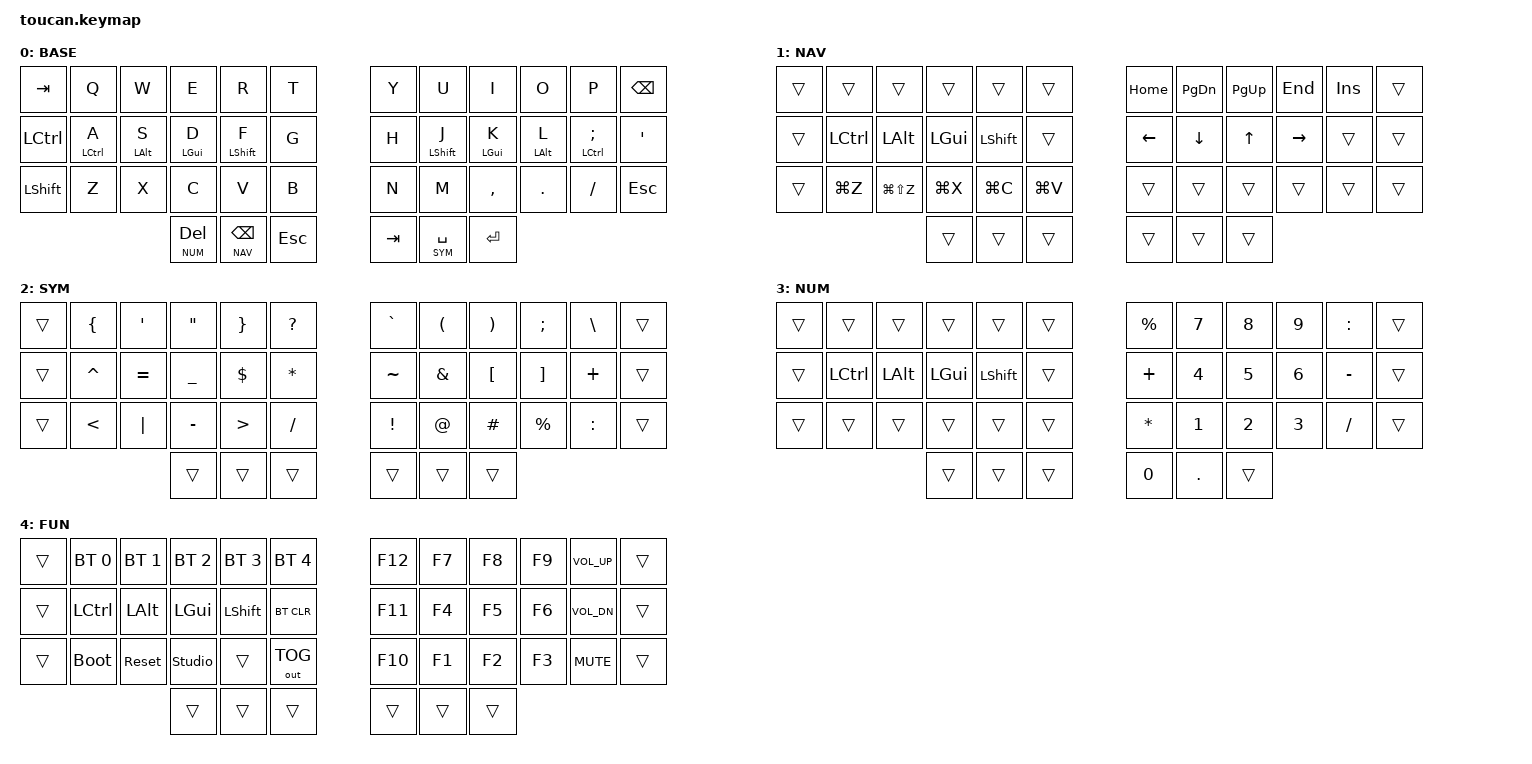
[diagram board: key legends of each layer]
/*
 * Toucan 36 keymap — ported from a Glove80 "Glorious Engrammer" setup.
 *
 * Carries over the three things that mattered:
 *   1. QWERTY base
 *   2. Home-row mods, macOS order  ->  Ctrl Alt Cmd Shift  (A S D F / ; L K J)
 *   3. A faithful Symbol layer (left-hand symbols, like the Glove80)
 *
 * Plus a Number layer and a Nav/Cursor layer, since a 36-key board has no
 * dedicated number row or arrow cluster.
 *
 * Built on the stock beekeeb Toucan 42-position matrix. The Toucan 36 simply
 * has no switch in the OUTER pinky column, so positions 0/11/12/23/24/35 are
 * unreachable on your board — everything important lives in the inner 5
 * columns + the 6 thumbs. The outer column keeps sensible defaults so the
 * file still flashes on stock firmware (and works on a 42 build too).
 *
 *  Physical layout / position numbers:
 *     0  1  2  3  4  5        6  7  8  9 10 11
 *    12 13 14 15 16 17       18 19 20 21 22 23
 *    24 25 26 27 28 29       30 31 32 33 34 35
 *             36 37 38       39 40 41
 *    (col 0 and col 11/index-side outer = absent on the 36)
 */

#include <behaviors.dtsi>
#include <dt-bindings/zmk/keys.h>
#include <dt-bindings/zmk/bt.h>
#include <dt-bindings/zmk/outputs.h>

#define BASE 0
#define NAV  1
#define SYM  2
#define NUM  3
#define FUN  4

/ {
    /* NAV + SYM held together -> FUN */
    conditional_layers {
        compatible = "zmk,conditional-layers";
        tri_fun {
            if-layers = <NAV SYM>;
            then-layer = <FUN>;
        };
    };

    combos {
        compatible = "zmk,combos";
        /* B + N (the two inner index keys) -> CAPS WORD.
         * Capitalises a whole word for SCREAMING_SNAKE_CASE; continues through
         * "_" and ends automatically at the next space. "bn" is a non-bigram,
         * so it won't trip while typing normally. */
        combo_caps_word {
            timeout-ms = <50>;
            key-positions = <29 30>;
            bindings = <&caps_word>;
            layers = <BASE>;
        };
    };

    behaviors {
        /* Home-row mods. Positional: a mod only triggers if the very next
         * key is on the OPPOSITE hand or a thumb — so same-hand rolls stay
         * fast and never fire a stray modifier. */
        hml: home_row_mod_left {
            compatible = "zmk,behavior-hold-tap";
            #binding-cells = <2>;
            flavor = "balanced";
            tapping-term-ms = <200>;
            quick-tap-ms = <175>;
            require-prior-idle-ms = <125>;
            bindings = <&kp>, <&kp>;
            hold-trigger-key-positions = <6 7 8 9 10 11 18 19 20 21 22 23 30 31 32 33 34 35 36 37 38 39 40 41>;
            hold-trigger-on-release;
        };
        hmr: home_row_mod_right {
            compatible = "zmk,behavior-hold-tap";
            #binding-cells = <2>;
            flavor = "balanced";
            tapping-term-ms = <200>;
            quick-tap-ms = <175>;
            require-prior-idle-ms = <125>;
            bindings = <&kp>, <&kp>;
            hold-trigger-key-positions = <0 1 2 3 4 5 12 13 14 15 16 17 24 25 26 27 28 29 36 37 38 39 40 41>;
            hold-trigger-on-release;
        };
    };

    keymap {
        compatible = "zmk,keymap";

        base {
            display-name = "BASE";
            bindings = <
   &kp TAB    &kp Q          &kp W         &kp E         &kp R          &kp T        &kp Y   &kp U          &kp I         &kp O         &kp P             &kp BSPC
   &kp LCTRL  &hml LCTRL A   &hml LALT S   &hml LGUI D   &hml LSHFT F   &kp G        &kp H   &hmr LSHFT J   &hmr LGUI K   &hmr LALT L   &hmr LCTRL SEMI   &kp SQT
   &kp LSHFT  &kp Z          &kp X         &kp C         &kp V          &kp B        &kp N   &kp M          &kp COMMA     &kp DOT       &kp FSLH          &kp ESC
                                           &lt NUM DEL   &lt NAV BSPC   &kp ESC      &kp TAB  &lt SYM SPACE   &kp RET
            >;
        };

        nav {
            display-name = "NAV";
            bindings = <
   &trans  &trans      &trans            &trans      &trans      &trans       &kp HOME   &kp PG_DN   &kp PG_UP   &kp END     &kp INS   &trans
   &trans  &kp LCTRL   &kp LALT          &kp LGUI    &kp LSHFT   &trans       &kp LEFT   &kp DOWN    &kp UP      &kp RIGHT   &trans    &trans
   &trans  &kp LG(Z)   &kp LG(LS(Z))     &kp LG(X)   &kp LG(C)   &kp LG(V)    &trans     &trans      &trans      &trans      &trans    &trans
                                         &trans  &trans  &trans       &trans  &trans  &trans
            >;
        };

        sym {
            display-name = "SYM";
            bindings = <
   &trans  &kp LBRC    &kp SQT     &kp DQT     &kp RBRC    &kp QMARK    &kp GRAVE  &kp LPAR    &kp RPAR    &kp SEMI    &kp BSLH    &trans
   &trans  &kp CARET   &kp EQUAL   &kp UNDER   &kp DLLR    &kp ASTRK    &kp TILDE  &kp AMPS    &kp LBKT    &kp RBKT    &kp PLUS    &trans
   &trans  &kp LT      &kp PIPE    &kp MINUS   &kp GT      &kp FSLH     &kp EXCL   &kp AT      &kp HASH    &kp PRCNT   &kp COLON   &trans
                                   &trans  &trans  &trans       &trans  &trans  &trans
            >;
        };

        num {
            display-name = "NUM";
            bindings = <
   &trans  &trans      &trans      &trans      &trans      &trans       &kp PRCNT  &kp N7   &kp N8   &kp N9   &kp COLON   &trans
   &trans  &kp LCTRL   &kp LALT    &kp LGUI    &kp LSHFT   &trans       &kp PLUS   &kp N4   &kp N5   &kp N6   &kp MINUS   &trans
   &trans  &trans      &trans      &trans      &trans      &trans       &kp ASTRK  &kp N1   &kp N2   &kp N3   &kp FSLH    &trans
                                   &trans  &trans  &trans       &kp N0  &kp DOT  &trans
            >;
        };

        fun {
            display-name = "FUN";
            bindings = <
   &trans  &bt BT_SEL 0   &bt BT_SEL 1   &bt BT_SEL 2   &bt BT_SEL 3   &bt BT_SEL 4   &kp F12   &kp F7   &kp F8   &kp F9   &kp C_VOL_UP   &trans
   &trans  &kp LCTRL      &kp LALT       &kp LGUI       &kp LSHFT      &bt BT_CLR     &kp F11   &kp F4   &kp F5   &kp F6   &kp C_VOL_DN   &trans
   &trans  &bootloader    &sys_reset     &studio_unlock &trans         &out OUT_TOG   &kp F10   &kp F1   &kp F2   &kp F3   &kp C_MUTE     &trans
                                         &trans  &trans  &trans       &trans  &trans  &trans
            >;
        };
    };
};
